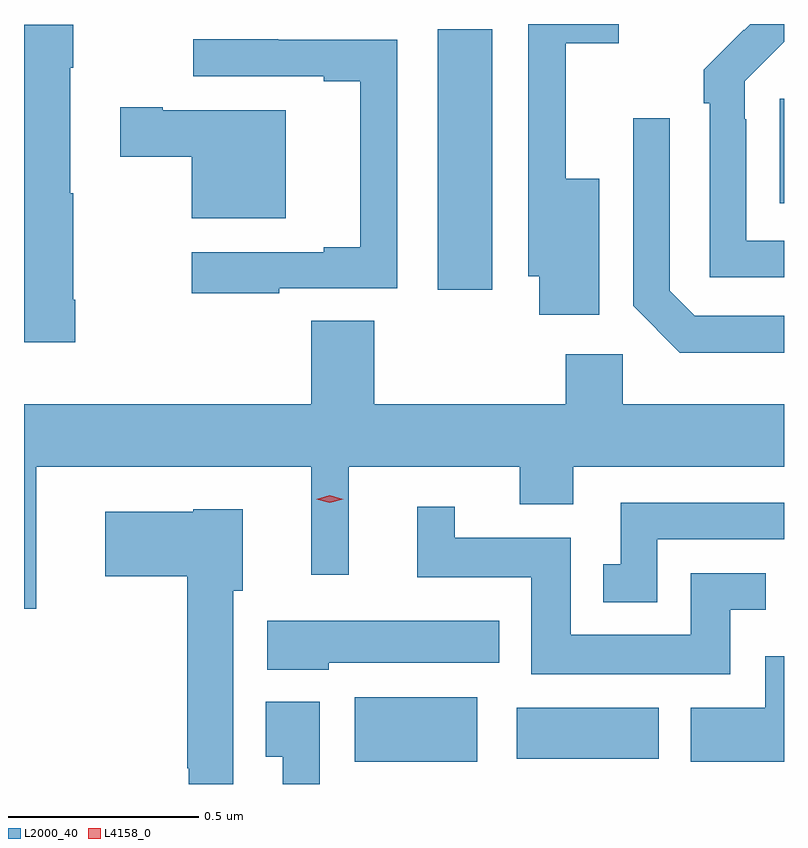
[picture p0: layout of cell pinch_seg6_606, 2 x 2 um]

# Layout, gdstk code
import gdstk
lib = gdstk.Library(unit=1e-6, precision=1e-09)
def R(c, l, rs):  # rectangles x0, y0, x1, y1
    for r in rs: c.add(gdstk.rectangle(r[:2], r[2:], *l))
def P(c, l, *ps):  # polygons
    for p in ps: c.add(gdstk.Polygon(p, *l))
L2000_40 = (2000, 40)
L4158_0 = (4158, 0)

pinch_seg6_606 = lib.new_cell('pinch_seg6_606')
R(pinch_seg6_606, L2000_40, [(513.662,977.195,513.985,977.365), (514.089,977.204,514.462,977.338), (513.881,978.438,514.024,979.123), (514.781,978.665,514.792,978.94)])
P(pinch_seg6_606, L2000_40, [(514.306,978.73),(514.217,978.73),(514.217,979.086),(514.357,979.086),(514.357,979.137),(514.119,979.137),(514.119,978.473),(514.148,978.473),(514.148,978.372),(514.306,978.372)],
  [(514.792,978.567),(514.692,978.567),(514.692,978.887),(514.689,978.887),(514.689,978.987),(514.792,979.09),(514.792,979.137),(514.703,979.137),(514.687,979.121),(514.686,979.122),(514.581,979.017),(514.581,978.929),(514.596,978.929),(514.596,978.471),(514.792,978.471)],
  [(512.927,978.412),(512.922,978.412),(512.922,978.692),(512.914,978.692),(512.914,979.022),(512.922,979.022),(512.922,979.135),(512.792,979.135),(512.792,978.3),(512.927,978.3)],
  [(513.464,978.441),(513.774,978.441),(513.774,979.095),(513.461,979.095),(513.461,979.097),(513.237,979.097),(513.237,978.999),(513.581,978.999),(513.581,978.987),(513.677,978.987),(513.677,978.55),(513.581,978.55),(513.581,978.537),(513.234,978.537),(513.234,978.429),(513.464,978.429)],
  [(513.481,978.91),(513.157,978.91),(513.157,978.918),(513.045,978.918),(513.045,978.788),(513.233,978.788),(513.233,978.626),(513.481,978.626)],
  [(514.792,978.369),(514.557,978.369),(514.491,978.435),(514.491,978.889),(514.395,978.889),(514.395,978.395),(514.518,978.272),(514.792,978.272)],
  [(512.824,977.972),(513.548,977.972),(513.548,977.688),(513.647,977.688),(513.647,977.972),(514.097,977.972),(514.097,977.873),(514.237,977.873),(514.237,977.972),(514.792,977.972),(514.792,978.136),(514.368,978.136),(514.368,978.268),(514.217,978.268),(514.217,978.136),(513.714,978.136),(513.714,978.356),(513.548,978.356),(513.548,978.136),(512.792,978.136),(512.792,977.598),(512.824,977.598)],
  [(514.458,977.781),(514.792,977.781),(514.792,977.877),(514.362,977.877),(514.362,977.715),(514.316,977.715),(514.316,977.615),(514.458,977.615)],
  [(514.651,977.595),(514.744,977.595),(514.744,977.691),(514.547,977.691),(514.547,977.53),(514.231,977.53),(514.231,977.785),(513.925,977.785),(513.925,977.866),(513.827,977.866),(513.827,977.681),(514.127,977.681),(514.127,977.426),(514.651,977.426)],
  [(513.343,977.646),(513.367,977.646),(513.367,977.86),(513.237,977.86),(513.237,977.854),(513.006,977.854),(513.006,977.684),(513.221,977.684),(513.221,977.179),(513.226,977.179),(513.226,977.137),(513.343,977.137)],
  [(513.594,977.456),(514.042,977.456),(514.042,977.566),(513.432,977.566),(513.432,977.438),(513.594,977.438)],
  [(514.792,977.473),(514.742,977.473),(514.742,977.338),(514.547,977.338),(514.547,977.195),(514.792,977.195)],
  [(513.57,977.353),(513.428,977.353),(513.428,977.209),(513.473,977.209),(513.473,977.137),(513.57,977.137)])
P(pinch_seg6_606, L4158_0, [(513.597,977.877),(513.561,977.887),(513.561,977.887),(513.561,977.887),(513.597,977.897),(513.632,977.887),(513.632,977.887),(513.632,977.887)])

lib.write_gds('pinch_seg6_606.gds')
